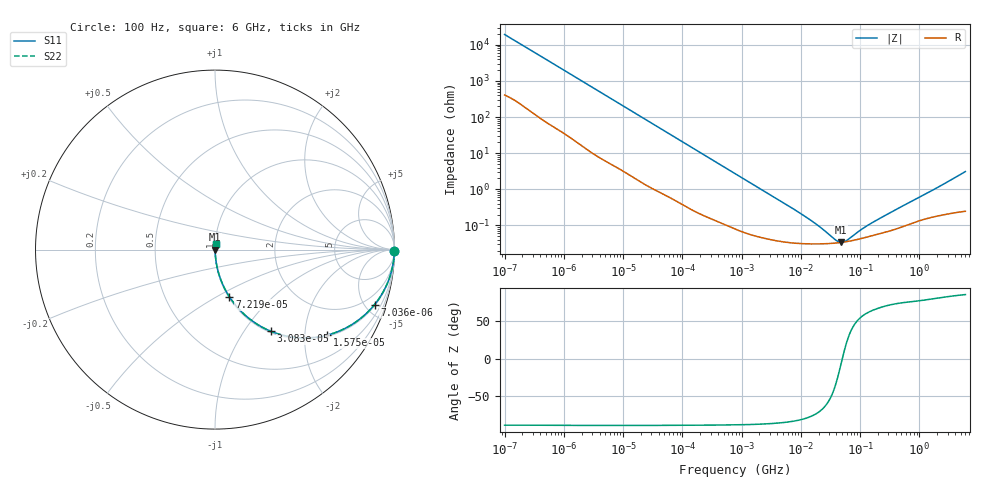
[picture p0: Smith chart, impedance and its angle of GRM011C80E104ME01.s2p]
!Murata Part Number: GRM011C80E104ME01
!These Parameters are Measured in Series Mode Connection
!Data Generated on Mar 30, 2021
!  o--ll--o
!Port1  Port2
!  o------o
!Operation Temp=25[degC], DC Bias Voltage=0[V]
!Freq. Start=100[Hz] Stop=6[GHz] 401[Steps]
# Hz S RI R 50
!Freq.(Hz) S11(Real) S11(Imag) S21(Real) S21(Imag) S12(Real) S12(Imag) S22(Real) S22(Imag)
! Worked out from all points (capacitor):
!   401 points, 100 Hz to 6 GHz, reference 50 ohm
!   read as one part in series: C = 82.1 nF near 109 Hz
!   lowest |Z| = 34 mohm at 47.65 MHz (marker M1)
!   series resonance near 50.19 MHz, so ESL is about 120 pH
!   S11 on the Smith chart (normalised r, x): 100 Hz: open; 7.036 kHz: 1.09, -5.76; 15.75 kHz: 1.04, -2.59; 30.83 kHz: 1.02, -1.33; 72.19 kHz: 1.01, -0.57; 6 GHz: 1.00, +0.06
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100  0.9999 -0.00519  0.000136 0.00519  0.000136 0.00519  0.9999 -0.00519
627  0.9984 -0.0316  0.00157 0.0316  0.00157 0.0316  0.9984 -0.0316
2008  0.9885 -0.0989  0.0115 0.0989  0.0115 0.0989  0.9885 -0.0989
4111  0.9574 -0.1946  0.0426 0.1946  0.0426 0.1946  0.9574 -0.1946
7036  0.8887 -0.3069  0.1113 0.3069  0.1113 0.3069  0.8887 -0.3069
10527  0.7852 -0.403  0.2148 0.403  0.2148 0.403  0.7852 -0.403
15752  0.6252 -0.4764  0.3748 0.4764  0.3748 0.4764  0.6252 -0.4764
21550  0.475 -0.4917  0.525 0.4917  0.525 0.4917  0.475 -0.4917
30832  0.3103 -0.4548  0.6897 0.4548  0.6897 0.4548  0.3103 -0.4548
40335  0.2107 -0.3997  0.7893 0.3997  0.7893 0.3997  0.2107 -0.3997
72189  0.0802 -0.2628  0.9198 0.2628  0.9198 0.2628  0.0802 -0.2628
118133  0.0331 -0.17  0.9669 0.17  0.9669 0.17  0.0331 -0.17
202169  0.0126 -0.1021  0.9874 0.1021  0.9874 0.1021  0.0126 -0.1021
774597  0.00155 -0.0274  0.9984 0.0274  0.9984 0.0274  0.00155 -0.0274
6075234  0.000349 -0.00353  0.9997 0.00353  0.9997 0.00353  0.000349 -0.00353
1.555665e7  0.000309 -0.00127  0.9997 0.00127  0.9997 0.00127  0.000309 -0.00127
3.80911e7  0.000324 -0.000239  0.9997 0.000239  0.9997 0.000239  0.000324 -0.000239
4.764863e7  0.000337 -4.38e-05  0.9997 4.38e-05  0.9997 4.38e-05  0.000337 -4.38e-05
5.960426e7  0.000356 0.000145  0.9996 -0.000145  0.9996 -0.000145  0.000356 0.000145
1.220122e8  0.000463 0.000781  0.9995 -0.000781  0.9995 -0.000781  0.000463 0.000781
3.124326e8  0.000701 0.00207  0.9993 -0.00207  0.9993 -0.00207  0.000701 0.00207
6e9  0.0034 0.0307  0.9966 -0.0307  0.9966 -0.0307  0.0034 0.0307
